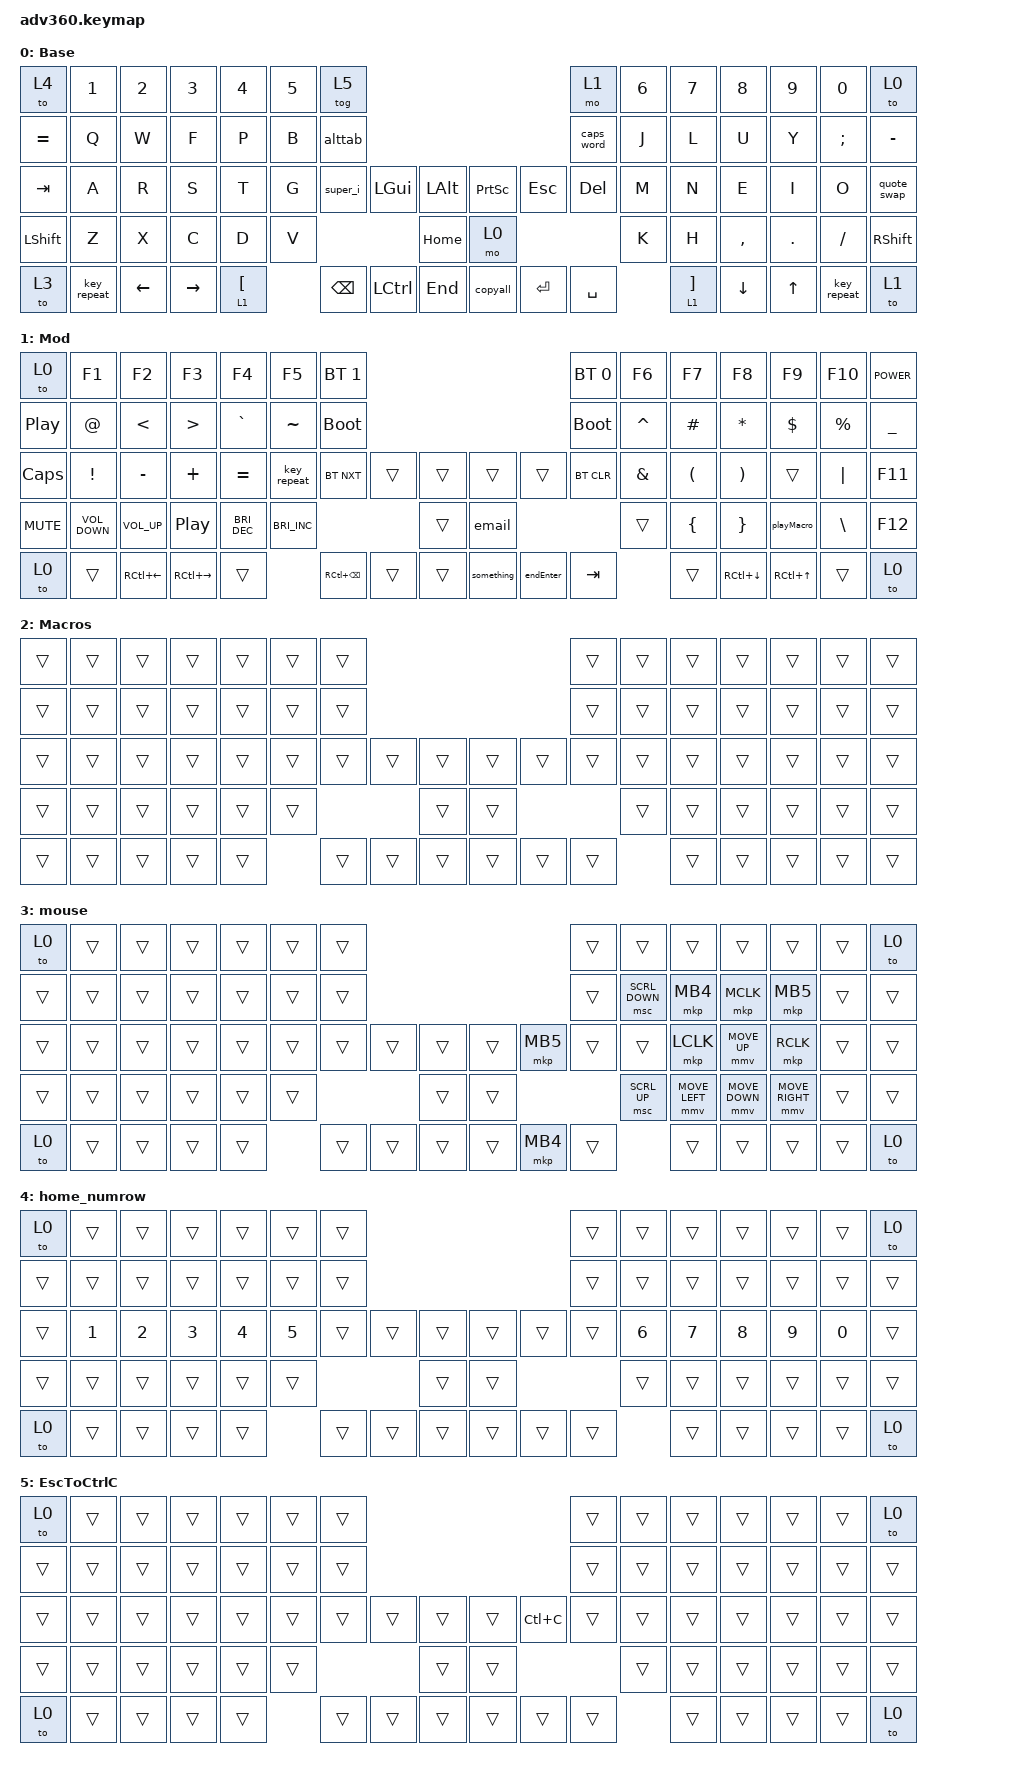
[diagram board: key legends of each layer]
#include <dt-bindings/zmk/stp.h>
#include <behaviors.dtsi>
#include <dt-bindings/zmk/bt.h>
#include <dt-bindings/zmk/keys.h>
#include <dt-bindings/zmk/pointing.h>

/ {
    behaviors {
        #include "macros.dtsi"
      #include "version.dtsi"

        layertapLeftBracket: layertapLeftBracket {
            compatible = "zmk,behavior-hold-tap";
            label = "LAYERTAPLEFTBRACKET";
            #binding-cells = <2>;
            tapping-term-ms = <120>;
            flavor = "hold-preferred";
            bindings = <&mo>, <&kp>;

            hold-trigger-key-positions = <23 24 25 26 40 41 42 44 55 56 57 58 70 69 38 22 37 38 53 68 69 72 73 54 27 45 59>;
        };

        quote_swap: quote_swap {
            compatible = "zmk,behavior-mod-morph";
            label = "QUOTE_SWAP";
            bindings = <&kp DOUBLE_QUOTES>, <&kp SQT>;

            #binding-cells = <0>;
            mods = <(MOD_LSFT|MOD_RSFT)>;
        };

        layertapRightBracket: layertapRightBracket {
            compatible = "zmk,behavior-hold-tap";
            label = "LAYERTAPRIGHTBRACKET";
            #binding-cells = <2>;
            tapping-term-ms = <120>;
            flavor = "hold-preferred";
            bindings = <&mo>, <&kp>;

            hold-trigger-key-positions = <65 15 16 17 18 19 29 30 31 32 33 47 48 49 50 51 35 66 35 36 52 66 67 62 14 15 16 17 18 19 28 29 30 31 32 33 35 36 46 47 48 49 50 51 52 62 65 66 67 63 61 64>;
        };
    };

    macros {
        alttab: alttab {
            compatible = "zmk,behavior-macro";
            #binding-cells = <0>;
            bindings =
                <&macro_press>,
                <&kp LEFT_ALT>,
                <&macro_tap>,
                <&kp TAB>,
                <&macro_release>,
                <&kp LEFT_ALT>;

            label = "ALTTAB";
        };

        powertoys: powertoys {
            compatible = "zmk,behavior-macro";
            #binding-cells = <0>;
            bindings =
                <&macro_press>,
                <&kp LEFT_ALT &kp RIGHT_WIN &kp SPACE>,
                <&macro_release>,
                <&kp LEFT_ALT &kp RIGHT_WIN &kp SPACE>;

            label = "POWERTOYS";
        };

        email: email {
            compatible = "zmk,behavior-macro";
            #binding-cells = <0>;
            bindings =
                <&macro_tap>,
                <&kp R &kp I &kp C &kp K &kp Y &kp Z &kp H &kp A &kp N &kp G &kp N1 &kp N9 &kp N6 &kp AT &kp O &kp U &kp T &kp L &kp O &kp O &kp K &kp DOT &kp C &kp O &kp M>;

            label = "EMAIL";
        };

        copyall: copyall {
            compatible = "zmk,behavior-macro";
            #binding-cells = <0>;
            bindings = <&kp G &kp O &kp LS(V) &kp LS(G)>;
            label = "COPYALL";
        };

        printscreen: printscreen {
            compatible = "zmk,behavior-macro";
            #binding-cells = <0>;
            bindings = <&macro_tap>, <&kp PRINTSCREEN>;

            label = "PRINTSCREEN";
        };

        linkedin: linkedin {
            compatible = "zmk,behavior-macro";
            #binding-cells = <0>;
            bindings = <&kp H &kp T &kp T &kp P &kp S &kp COLON &kp FSLH &kp FSLH &kp W &kp W &kp W &kp DOT &kp L &kp I &kp N &kp K &kp E &kp D &kp I &kp N &kp DOT &kp C &kp O &kp M &kp FSLH &kp I &kp N &kp FSLH &kp T &kp H &kp E &kp R &kp I &kp C &kp K &kp Y &kp Z &kp H &kp A &kp N &kp G &kp FSLH>;
            label = "LINKEDIN";
        };

        university: university {
            compatible = "zmk,behavior-macro";
            #binding-cells = <0>;
            bindings = <&kp LS(U) &kp N &kp I &kp V &kp E &kp R &kp S &kp I &kp T &kp Y &kp SPACE &kp O &kp F &kp SPACE &kp LS(F) &kp L &kp O &kp R &kp I &kp D &kp A>;
            label = "UNIVERSITY";
        };

        github: github {
            compatible = "zmk,behavior-macro";
            #binding-cells = <0>;
            bindings = <&kp H &kp T &kp T &kp P &kp S &kp COLON &kp FSLH &kp FSLH &kp G &kp I &kp T &kp H &kp U &kp B &kp DOT &kp C &kp O &kp M &kp FSLH &kp T &kp H &kp E &kp R &kp I &kp C &kp K &kp Y &kp Z &kp H &kp A &kp N &kp G>;
            label = "GITHUB";
        };

        full_name: full_name {
            compatible = "zmk,behavior-macro";
            #binding-cells = <0>;
            bindings = <&kp LS(R) &kp I &kp C &kp K &kp Y &kp SPACE &kp LS(Z) &kp H &kp A &kp N &kp G>;
            label = "FULL_NAME";
        };

        first_name: first_name {
            compatible = "zmk,behavior-macro";
            #binding-cells = <0>;
            bindings = <&kp LS(R) &kp I &kp C &kp K &kp Y>;
            label = "FIRST_NAME";
        };

        last_name: last_name {
            compatible = "zmk,behavior-macro";
            #binding-cells = <0>;
            bindings = <&kp LS(Z) &kp H &kp A &kp N &kp G>;
            label = "LAST_NAME";
        };

        start_date: start_date {
            compatible = "zmk,behavior-macro";
            #binding-cells = <0>;
            bindings = <&kp N0 &kp N8 &kp FSLH &kp N2 &kp N0 &kp N2 &kp N3>;
            label = "START_DATE";
        };

        end_date: end_date {
            compatible = "zmk,behavior-macro";
            #binding-cells = <0>;
            bindings = <&kp N0 &kp N5 &kp FSLH &kp N2 &kp N0 &kp N2 &kp N7>;
            label = "END_DATE";
        };

        website: website {
            compatible = "zmk,behavior-macro";
            #binding-cells = <0>;
            bindings = <&kp H &kp T &kp T &kp P &kp S &kp COLON &kp FSLH &kp FSLH &kp T &kp H &kp E &kp R &kp I &kp C &kp K &kp Y &kp Z &kp H &kp A &kp N &kp G &kp DOT &kp C &kp O &kp M>;
            label = "WEBSITE";
        };

        cpp_template: cpp_template {
            compatible = "zmk,behavior-macro";
            #binding-cells = <0>;
            bindings = <&kp POUND &kp D &kp E &kp F &kp I &kp N &kp E &kp SPACE &kp F &kp LPAR &kp I &kp COMMA &kp SPACE &kp N &kp RPAR &kp SPACE &kp F &kp O &kp R &kp LPAR &kp I &kp N &kp T &kp SPACE &kp I &kp SPACE &kp EQUAL &kp SPACE &kp N0 &kp SEMI &kp SPACE &kp I &kp SPACE &kp LT &kp SPACE &kp N &kp SEMI &kp SPACE &kp I &kp PLUS &kp PLUS &kp RPAR &kp RET &kp T &kp E &kp M &kp P &kp L &kp A &kp T &kp E &kp LT &kp T &kp Y &kp P &kp E &kp N &kp A &kp M &kp E &kp SPACE &kp LS(T) &kp GT &kp SPACE &kp U &kp S &kp I &kp N &kp G &kp SPACE &kp V &kp SPACE &kp EQUAL &kp SPACE &kp V &kp E &kp C &kp T &kp O &kp R &kp LT &kp LS(T) &kp GT &kp SEMI &kp RET &kp U &kp S &kp I &kp N &kp G &kp SPACE &kp L &kp L &kp SPACE &kp EQUAL &kp SPACE &kp L &kp O &kp N &kp G &kp SPACE &kp L &kp O &kp N &kp G &kp SEMI &kp RET &kp U &kp S &kp I &kp N &kp G &kp SPACE &kp P &kp I &kp I &kp SPACE &kp EQUAL &kp SPACE &kp P &kp A &kp I &kp R &kp LT &kp I &kp N &kp T &kp COMMA &kp I &kp N &kp T &kp GT &kp SEMI &kp RET &kp U &kp S &kp I &kp N &kp G &kp SPACE &kp S &kp T &kp R &kp SPACE &kp EQUAL &kp SPACE &kp S &kp T &kp R &kp I &kp N &kp G &kp SEMI>;
            label = "CPP_TEMPLATE";
        };

        neovim_config: neovim_config {
            compatible = "zmk,behavior-macro";
            #binding-cells = <0>;
            bindings = <&kp TILDE &kp FSLH &kp DOT &kp C &kp O &kp N &kp F &kp I &kp G &kp FSLH &kp N &kp V &kp I &kp M &kp FSLH &kp L &kp U &kp A>;
            label = "NEOVIM_CONFIG";
        };

        something: something {
            compatible = "zmk,behavior-macro";
            #binding-cells = <0>;
            bindings = <&kp LS(H) &kp Y &kp P &kp E &kp R &kp I &kp O &kp S &kp N1 &kp N9 &kp N6 &kp DLLR>;
            label = "SOMETHING";
        };

        computerscience: computerscience {
            compatible = "zmk,behavior-macro";
            #binding-cells = <0>;
            bindings = <&kp LS(C) &kp O &kp M &kp P &kp U &kp T &kp E &kp R &kp SPACE &kp LS(S) &kp C &kp I &kp E &kp N &kp C &kp E>;
            label = "COMPUTERSCIENCE";
        };

        ctrlc: ctrlc {
            compatible = "zmk,behavior-macro";
            #binding-cells = <0>;
            bindings =
                <&macro_press>,
                <&kp LCTRL>,
                <&macro_tap>,
                <&kp C>,
                <&macro_release>,
                <&kp LCTRL>;

            label = "CTRLC";
        };

        endEnter: endEnter {
            compatible = "zmk,behavior-macro";
            #binding-cells = <0>;
            bindings = <&none>;
            label = "ENDENTER";
        };

        playMacro: defaultMacro {
            compatible = "zmk,behavior-macro";
            #binding-cells = <0>;
            bindings = <&kp AT &kp P>;
            label = "DEFAULTMACRO";
        };

        username: username {
            compatible = "zmk,behavior-macro";
            #binding-cells = <0>;
            bindings = <&kp LS(T) &kp H &kp E &kp LS(R) &kp I &kp C &kp K &kp Y &kp LS(Z) &kp H &kp A &kp N &kp G>;
            label = "USERNAME";
        };

        somethingagain: somethingagain {
            compatible = "zmk,behavior-macro";
            #binding-cells = <0>;
            bindings = <&kp LS(V) &kp N1 &kp P &kp N3 &kp R &kp N6 &kp N9 &kp N1 &kp DLLR>;
            label = "SOMETHINGAGAIN";
        };

        recordMacro: recordMacro {
            compatible = "zmk,behavior-macro";
            #binding-cells = <0>;
            bindings = <&kp Q &kp P>;
            label = "RECORDMACRO";
        };

        birthday: birthday {
            compatible = "zmk,behavior-macro";
            #binding-cells = <0>;
            bindings = <&kp N0 &kp N2 &kp FSLH &kp N0 &kp N9 &kp FSLH &kp N2 &kp N0 &kp N0 &kp N5>;
            label = "BIRTHDAY";
        };

        internship: internship {
            compatible = "zmk,behavior-macro";
            #binding-cells = <0>;
            bindings = <&kp LS(S) &kp U &kp M &kp I &kp T &kp O &kp M &kp O &kp SPACE &kp LS(M) &kp I &kp T &kp S &kp U &kp I &kp SPACE &kp LS(B) &kp A &kp N &kp K &kp I &kp N &kp G &kp SPACE &kp LS(C) &kp O &kp R &kp P &kp O &kp R &kp A &kp T &kp I &kp O &kp N>;
            label = "INTERNSHIP";
        };

        phone_number: phone_number {
            compatible = "zmk,behavior-macro";
            #binding-cells = <0>;
            bindings = <&kp N9 &kp N0 &kp N4 &kp N3 &kp N4 &kp N2 &kp N9 &kp N1 &kp N7 &kp N0>;
            label = "PHONE_NUMBER";
        };

        country: country {
            compatible = "zmk,behavior-macro";
            #binding-cells = <0>;
            bindings = <&kp LS(U) &kp N &kp I &kp T &kp E &kp D &kp SPACE &kp LS(S) &kp T &kp A &kp T &kp E &kp S>;
            label = "COUNTRY";
        };

        super_i: super_i {
            compatible = "zmk,behavior-macro";
            #binding-cells = <0>;
            bindings =
                <&macro_press>,
                <&kp RIGHT_WIN &kp I>,
                <&macro_release>,
                <&kp RIGHT_WIN &kp I>;

            label = "SUPER_I";
        };
    };

    combos {
        compatible = "zmk,combos";

        super {
            bindings = <&kp LGUI>;
            key-positions = <65 70>;
        };

        escape_alt {
            bindings = <&kp ESCAPE>;
            key-positions = <31 32 41 42>;
        };

        layer2 {
            bindings = <&mo 0>;
            key-positions = <46 59>;
        };
    };

    keymap {
        compatible = "zmk,keymap";

        default_layer {
            display-name = "Base";
            bindings = <
&to 4      &kp N1       &kp N2    &kp N3     &kp N4                               &kp N5  &tog 5                                                               &mo 1       &kp N6  &kp N7                                 &kp N8     &kp N9        &kp N0         &to 0
&kp EQUAL  &kp Q        &kp W     &kp F      &kp P                                &kp B   &alttab                                                              &caps_word  &kp J   &kp L                                  &kp U      &kp Y         &kp SEMICOLON  &kp MINUS
&kp TAB    &kp A        &kp R     &kp S      &kp T                                &kp G   &super_i       &kp LGUI   &kp LALT      &kp PRINTSCREEN  &kp ESCAPE  &kp DELETE  &kp M   &kp N                                  &kp E      &kp I         &kp O          &quote_swap
&kp LSHFT  &kp Z        &kp X     &kp C      &kp D                                &kp V                             &kp HOME      &mo 0                                    &kp K   &kp H                                  &kp COMMA  &kp DOT       &kp FSLH       &kp RSHFT
&to 3      &key_repeat  &kp LEFT  &kp RIGHT  &layertapLeftBracket 1 LEFT_BRACKET          &kp BACKSPACE  &kp LCTRL  &kp END       &copyall         &kp ENTER   &kp SPACE           &layertapRightBracket 1 RIGHT_BRACKET  &kp DOWN   &kp UP_ARROW  &key_repeat    &to 1
            >;
        };

        mod {
            display-name = "Mod";
            bindings = <
&to 0             &kp F1             &kp F2           &kp F3            &kp F4                &kp F5                &bt BT_SEL 1                                                  &bt BT_SEL 0  &kp F6         &kp F7                &kp F8                 &kp F9            &kp F10        &kp C_POWER
&kp C_PLAY_PAUSE  &kp AT             &kp LESS_THAN    &kp GREATER_THAN  &kp GRAVE             &kp TILDE             &bootloader                                                   &bootloader   &kp CARET      &kp HASH              &kp ASTERISK           &kp DOLLAR        &kp PERCENT    &kp UNDERSCORE
&kp CAPSLOCK      &kp EXCLAMATION    &kp MINUS        &kp PLUS          &kp EQUAL             &key_repeat           &bt BT_NXT         &trans  &trans      &trans      &trans     &bt BT_CLR    &kp AMPERSAND  &kp LEFT_PARENTHESIS  &kp RIGHT_PARENTHESIS  &trans            &kp PIPE       &kp F11
&kp C_MUTE        &kp C_VOLUME_DOWN  &kp C_VOLUME_UP  &kp C_PLAY_PAUSE  &kp C_BRIGHTNESS_DEC  &kp C_BRIGHTNESS_INC                             &trans      &email                               &trans         &kp LEFT_BRACE        &kp RIGHT_BRACE        &playMacro        &kp BACKSLASH  &kp F12
&to 0             &trans             &kp RC(LEFT)     &kp RC(RIGHT)     &trans                                      &kp RC(BACKSPACE)  &trans  &trans      &something  &endEnter  &kp TAB                      &trans                &kp RC(DOWN)           &kp RC(UP_ARROW)  &trans         &to 0
            >;
        };

        Macros {
            bindings = <
&trans  &trans  &trans  &trans  &trans  &trans  &trans                                      &trans  &trans  &trans  &trans  &trans  &trans  &trans
&trans  &trans  &trans  &trans  &trans  &trans  &trans                                      &trans  &trans  &trans  &trans  &trans  &trans  &trans
&trans  &trans  &trans  &trans  &trans  &trans  &trans  &trans  &trans      &trans  &trans  &trans  &trans  &trans  &trans  &trans  &trans  &trans
&trans  &trans  &trans  &trans  &trans  &trans                  &trans      &trans                  &trans  &trans  &trans  &trans  &trans  &trans
&trans  &trans  &trans  &trans  &trans          &trans  &trans  &trans      &trans  &trans  &trans          &trans  &trans  &trans  &trans  &trans
            >;
        };

        mouse {
            bindings = <
&to 0   &trans  &trans  &trans  &trans  &trans  &trans                                        &trans  &trans          &trans          &trans          &trans           &trans  &to 0
&trans  &trans  &trans  &trans  &trans  &trans  &trans                                        &trans  &msc SCRL_DOWN  &mkp MB4        &mkp MCLK       &mkp MB5         &trans  &trans
&trans  &trans  &trans  &trans  &trans  &trans  &trans  &trans  &trans      &trans  &mkp MB5  &trans  &trans          &mkp LCLK       &mmv MOVE_UP    &mkp RCLK        &trans  &trans
&trans  &trans  &trans  &trans  &trans  &trans                  &trans      &trans                    &msc SCRL_UP    &mmv MOVE_LEFT  &mmv MOVE_DOWN  &mmv MOVE_RIGHT  &trans  &trans
&to 0   &trans  &trans  &trans  &trans          &trans  &trans  &trans      &trans  &mkp MB4  &trans                  &trans          &trans          &trans           &trans  &to 0
            >;
        };

        home_numrow {
            bindings = <
&to 0   &trans        &trans        &trans        &trans        &trans  &trans                                      &trans  &trans        &trans  &trans  &trans  &trans  &to 0
&trans  &trans        &trans        &trans        &trans        &trans  &trans                                      &trans  &trans        &trans  &trans  &trans  &trans  &trans
&trans  &kp NUMBER_1  &kp NUMBER_2  &kp NUMBER_3  &kp NUMBER_4  &kp N5  &trans  &trans  &trans      &trans  &trans  &trans  &kp NUMBER_6  &kp N7  &kp N8  &kp N9  &kp N0  &trans
&trans  &trans        &trans        &trans        &trans        &trans                  &trans      &trans                  &trans        &trans  &trans  &trans  &trans  &trans
&to 0   &trans        &trans        &trans        &trans                &trans  &trans  &trans      &trans  &trans  &trans                &trans  &trans  &trans  &trans  &to 0
            >;
        };

        EscToCtrlC {
            bindings = <
&to 0   &trans  &trans  &trans  &trans  &trans  &trans                                         &trans  &trans  &trans  &trans  &trans  &trans  &to 0
&trans  &trans  &trans  &trans  &trans  &trans  &trans                                         &trans  &trans  &trans  &trans  &trans  &trans  &trans
&trans  &trans  &trans  &trans  &trans  &trans  &trans  &trans  &trans      &trans  &kp LC(C)  &trans  &trans  &trans  &trans  &trans  &trans  &trans
&trans  &trans  &trans  &trans  &trans  &trans                  &trans      &trans                     &trans  &trans  &trans  &trans  &trans  &trans
&to 0   &trans  &trans  &trans  &trans          &trans  &trans  &trans      &trans  &trans     &trans          &trans  &trans  &trans  &trans  &to 0
            >;
        };
    };
};
